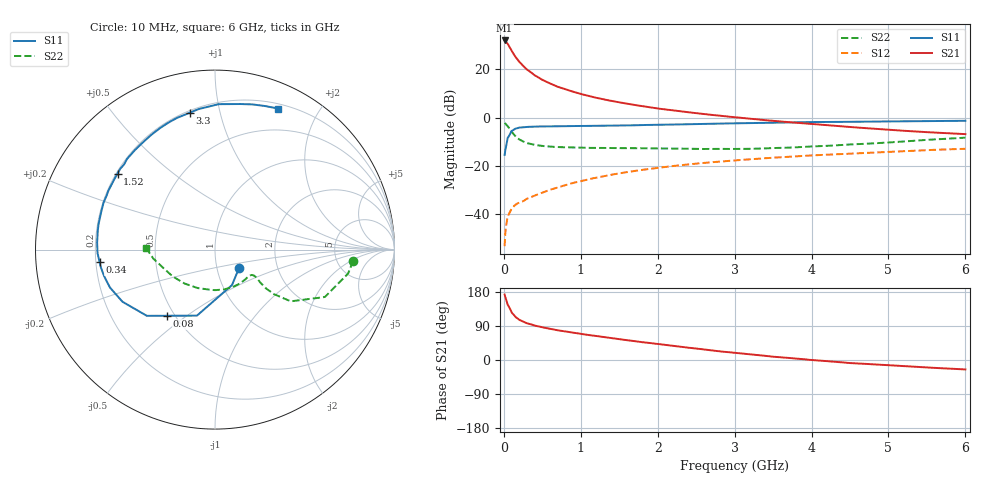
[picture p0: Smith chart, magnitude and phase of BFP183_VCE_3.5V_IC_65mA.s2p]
! Infineon Technologies  Discrete & RF Semiconductors
! BFP183
! VCE = 3.5 V,  IC =  65 mA
! Common Emitter S-Parameters:  Jan 2016
# GHz  S  MA  R  50
!  f  S11  S21  S12  S22
! GHz  MAG  ANG  MAG  ANG  MAG  ANG  MAG  ANG
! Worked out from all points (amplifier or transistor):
!   210 points, 10 MHz to 6 GHz, reference 50 ohm
!   highest |S21| = 31.9 dB at 10 MHz (marker M1)
!   |S21| within 3 dB of that: start of sweep to 77.92 MHz
!   unconditionally stable (mu >= 1): start of sweep to 31.07 MHz; 209.3 MHz to end of sweep
!   at 185 MHz: K = 0.93, MSG = 29.5 dB, |S12| = -35.3 dB
!   at 1.52 GHz: K = 1.63, MAG = 9.9 dB, |S12| = -23.0 dB
!   at 6 GHz: K = 1.22, MAG = 0.2 dB, |S12| = -12.9 dB
!   S11 on the Smith chart (normalised r, x): 10 MHz: 1.28, -0.27; 80 MHz: 0.45, -0.42; 340 MHz: 0.21, -0.05; 1.52 GHz: 0.21, +0.33; 3.3 GHz: 0.21, +0.81; 6 GHz: 0.25, +1.51
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0.01  0.1695 -38.0  39.43 172.5  0.0022 65.3  0.7724 -4.7
0.02  0.2193 -64.5  38.62 165.3  0.0043 69.5  0.7534 -10.2
0.05  0.3815 -105.3  33.62 145.8  0.0089 61.3  0.667 -23.3
0.08  0.4558 -126.0  27.53 135.2  0.0113 53.3  0.5711 -29.2
0.1  0.5294 -135.8  24.21 125.3  0.013 49.6  0.5115 -34.3
0.15  0.5917 -150.6  18.14 113.5  0.0158 48.4  0.4117 -37.1
0.2  0.6221 -160.1  14.29 106.1  0.0176 48.9  0.3553 -37.2
0.24  0.632 -165.2  12.2 102.0  0.0184 49.9  0.3282 -36.6
0.3  0.6436 -171.2  9.882 97.0  0.021 51.1  0.2978 -35.2
0.34  0.6469 -174.0  8.929 94.9  0.0223 53.0  0.2879 -34.7
0.4  0.6547 -178.2  7.528 90.8  0.0244 55.5  0.273 -33.9
0.5  0.6579 176.6  6.044 86.2  0.0281 56.6  0.2596 -33.7
0.6  0.6608 171.9  5.092 82.1  0.0322 59.1  0.2517 -34.2
0.8  0.6656 164.4  3.843 75.2  0.0402 61.6  0.2437 -36.3
1.02  0.6735 156.6  3.028 68.4  0.0494 62.1  0.2386 -40.2
1.52  0.6886 142.0  2.046 54.4  0.0712 60.2  0.2342 -51.2
2.02  0.7123 128.3  1.532 41.6  0.0922 55.8  0.2308 -64.8
3.1  0.767 104.1  0.985 17.1  0.134 45.4  0.2255 -100.3
3.3  0.7761 100.3  0.919 13.2  0.1412 43.3  0.2285 -107.5
4.1  0.8115 87.1  0.718 -1.4  0.1683 35.2  0.257 -135.1
5.1  0.8372 74.6  0.547 -15.0  0.1986 26.4  0.3136 -163.1
6  0.8609 65.9  0.456 -24.9  0.227 16.8  0.3857 178.3
